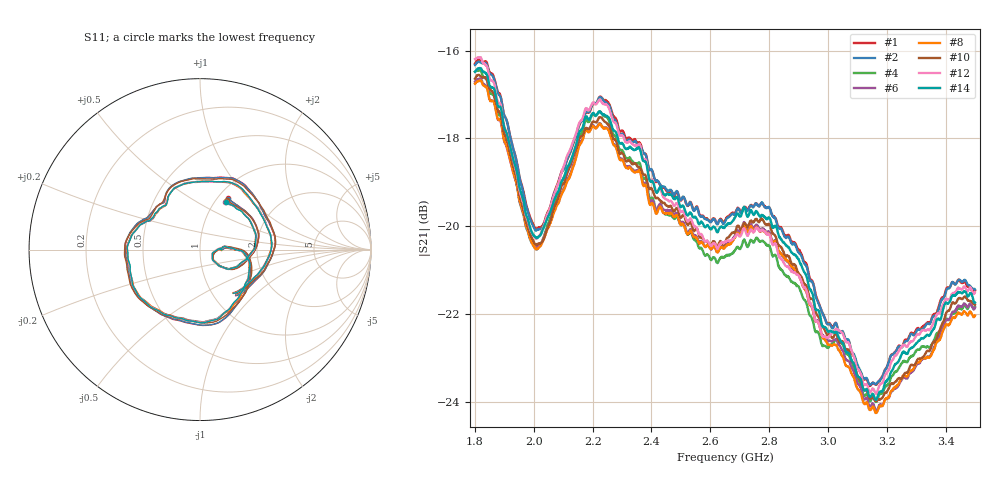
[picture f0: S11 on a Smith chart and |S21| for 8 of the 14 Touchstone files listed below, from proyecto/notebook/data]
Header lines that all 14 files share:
! Created with skrf 1.9.0 (http://scikit-rf.org).
# Hz S RI R 50.0
!freq ReS11 ImS11 ReS21 ImS21 ReS12 ImS12 ReS22 ImS22
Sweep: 1.8 GHz to 3.5 GHz
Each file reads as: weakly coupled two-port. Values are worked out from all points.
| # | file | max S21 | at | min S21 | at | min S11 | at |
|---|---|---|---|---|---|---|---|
| 1 | A10_D07_B2_O240_corrected.s2p | -16.20 dB | 1.814 GHz | -23.6 dB | 3.142 GHz | -21.6 dB | 2.088 GHz |
| 2 | A10_D08_B2_O000_corrected.s2p | -16.24 dB | 1.812 GHz | -23.6 dB | 3.142 GHz | -21.5 dB | 2.089 GHz |
| 3 | A11_D01_B2_O000_corrected.s2p | -16.41 dB | 1.808 GHz | -24.0 dB | 3.165 GHz | -22.3 dB | 2.094 GHz |
| 4 | A11_D01_B2_O120_corrected.s2p | -16.44 dB | 1.81 GHz | -24.0 dB | 3.163 GHz | -21.9 dB | 2.094 GHz |
| 5 | A11_D01_B2_O240_corrected.s2p | -16.44 dB | 1.817 GHz | -24.1 dB | 3.162 GHz | -22.0 dB | 2.093 GHz |
| 6 | A11_D02_B2_O000_corrected.s2p | -16.63 dB | 1.817 GHz | -24.2 dB | 3.165 GHz | -22.3 dB | 2.092 GHz |
| 7 | A11_D02_B2_O120_corrected.s2p | -16.66 dB | 1.817 GHz | -24.2 dB | 3.165 GHz | -22.0 dB | 2.091 GHz |
| 8 | A11_D02_B2_O240_corrected.s2p | -16.67 dB | 1.819 GHz | -24.3 dB | 3.164 GHz | -22.0 dB | 2.092 GHz |
| 9 | A11_D04_B2_O120_corrected.s2p | -16.63 dB | 1.812 GHz | -24.2 dB | 3.163 GHz | -21.8 dB | 2.093 GHz |
| 10 | A11_D05_B2_O000_corrected.s2p | -16.55 dB | 1.812 GHz | -24.0 dB | 3.163 GHz | -21.5 dB | 2.091 GHz |
| 11 | A11_D05_B2_O240_corrected.s2p | -16.61 dB | 1.812 GHz | -24.0 dB | 3.162 GHz | -21.2 dB | 2.09 GHz |
| 12 | A12_D01_B2_O240_corrected.s2p | -16.15 dB | 1.812 GHz | -23.8 dB | 3.163 GHz | -22.5 dB | 2.093 GHz |
| 13 | A12_D02_B2_O120_corrected.s2p | -16.36 dB | 1.816 GHz | -23.9 dB | 3.162 GHz | -22.5 dB | 2.093 GHz |
| 14 | A12_D02_B2_O240_corrected.s2p | -16.39 dB | 1.816 GHz | -24.0 dB | 3.163 GHz | -22.4 dB | 2.093 GHz |
